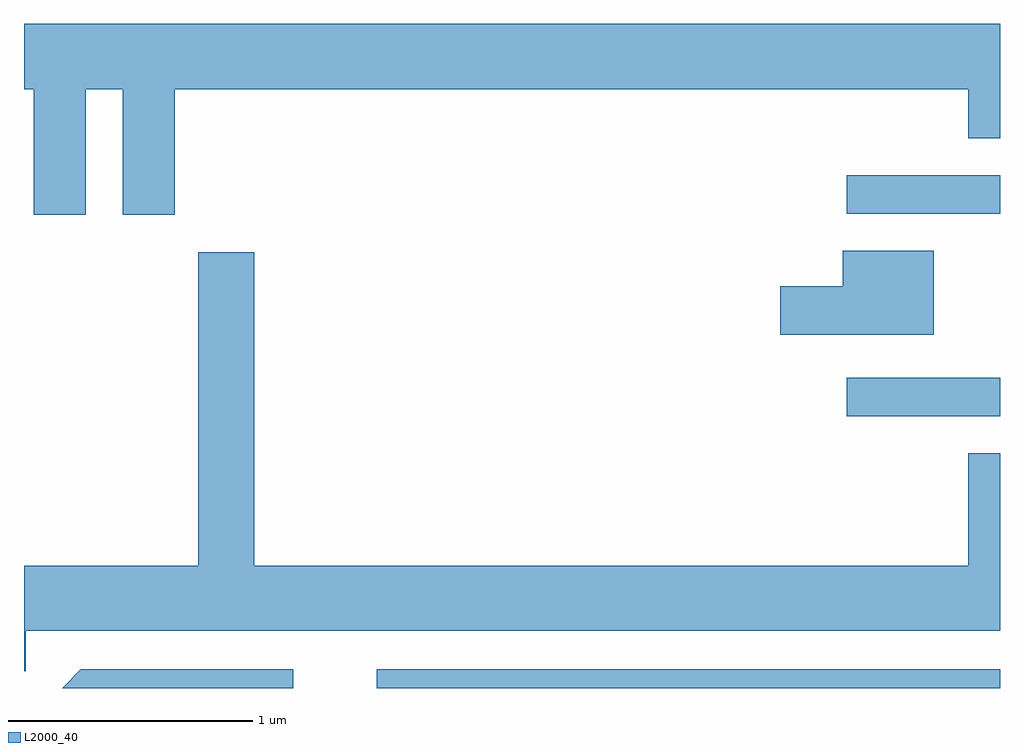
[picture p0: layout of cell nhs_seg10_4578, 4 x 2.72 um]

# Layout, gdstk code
import gdstk
lib = gdstk.Library(unit=1e-6, precision=1e-09)
def R(c, l, rs):  # rectangles x0, y0, x1, y1
    for r in rs: c.add(gdstk.rectangle(r[:2], r[2:], *l))
def P(c, l, *ps):  # polygons
    for p in ps: c.add(gdstk.Polygon(p, *l))
L2000_40 = (2000, 40)

nhs_seg10_4578 = lib.new_cell('nhs_seg10_4578')
R(nhs_seg10_4578, L2000_40, [(321.056,2162.522,323.611,2162.599), (322.983,2163.636,323.611,2163.794), (322.983,2164.466,323.611,2164.624)])
P(nhs_seg10_4578, L2000_40, [(319.864,2164.976),(320.016,2164.976),(320.016,2164.461),(320.229,2164.461),(320.229,2164.976),(323.481,2164.976),(323.481,2164.776),(323.611,2164.776),(323.611,2165.244),(319.611,2165.244),(319.611,2164.976),(319.651,2164.976),(319.651,2164.461),(319.864,2164.461)],
  [(323.339,2164.314),(322.966,2164.314),(322.966,2164.169),(322.711,2164.169),(322.711,2163.971),(323.339,2163.971)],
  [(319.619,2162.756),(323.611,2162.756),(323.611,2163.484),(323.481,2163.484),(323.481,2163.024),(320.554,2163.024),(320.554,2164.309),(320.326,2164.309),(320.326,2163.024),(319.611,2163.024),(319.611,2162.591),(319.619,2162.591)],
  [(320.714,2162.599),(319.844,2162.599),(319.767,2162.522),(320.714,2162.522)])

lib.write_gds('nhs_seg10_4578.gds')
